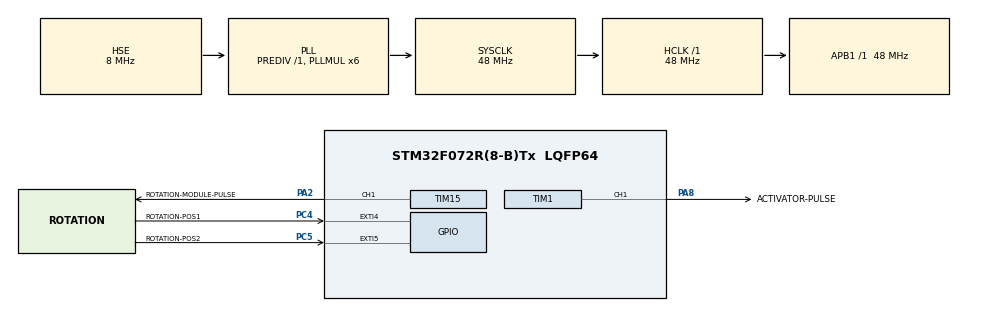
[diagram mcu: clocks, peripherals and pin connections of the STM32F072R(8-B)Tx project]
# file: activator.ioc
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Mcu.Family=STM32F0
Mcu.Name=STM32F072R(8-B)Tx
Mcu.Package=LQFP64
NVIC.EXTI4_15_IRQn=true\:0\:0\:false\:false\:true\:true\:true
NVIC.TIM1_CC_IRQn=true\:0\:0\:false\:false\:true\:true\:true
PA13.Mode=Serial_Wire
PA13.Signal=SYS_SWDIO
PA14.Mode=Serial_Wire
PA14.Signal=SYS_SWCLK
PA2.GPIO_Label=ROTATION-MODULE-PULSE
PA2.Signal=S_TIM15_CH1
PA8.GPIO_Label=ACTIVATOR-PULSE
PA8.Signal=S_TIM1_CH1
PC4.GPIO_Label=ROTATION-POS1
PC4.Signal=GPXTI4
PC5.GPIO_Label=ROTATION-POS2
PC5.Signal=GPXTI5
PF0-OSC_IN.Mode=HSE-External-Oscillator
PF0-OSC_IN.Signal=RCC_OSC_IN
PF1-OSC_OUT.Mode=HSE-External-Oscillator
PF1-OSC_OUT.Signal=RCC_OSC_OUT
ProjectManager.HeapSize=0x200
ProjectManager.StackSize=0x400
ProjectManager.TargetToolchain=MDK-ARM V5
RCC.AHBFreq_Value=48000000
RCC.APB1Freq_Value=48000000
RCC.APB1TimFreq_Value=48000000
RCC.HCLKFreq_Value=48000000
RCC.PLLMUL=RCC_PLL_MUL6
RCC.PLLSourceVirtual=RCC_PLLSOURCE_HSE
RCC.SYSCLKFreq_VALUE=48000000
RCC.SYSCLKSource=RCC_SYSCLKSOURCE_PLLCLK
SH.S_TIM15_CH1.0=TIM15_CH1,PWM Generation1 CH1
SH.S_TIM1_CH1.0=TIM1_CH1,PWM Generation1 CH1
TIM1.Channel-PWM\ Generation1\ CH1=TIM_CHANNEL_1
TIM1.OCPolarity_1=TIM_OCPOLARITY_HIGH
TIM1.Period=2499
TIM1.Prescaler=47
TIM1.Pulse-PWM\ Generation1\ CH1=1249
TIM15.Channel-PWM\ Generation1\ CH1=TIM_CHANNEL_1
TIM15.Period=19999
TIM15.Prescaler=47
TIM15.Pulse-PWM\ Generation1\ CH1=1000
VP_TIM15_VS_ClockSourceINT.Mode=Internal
VP_TIM1_VS_ClockSourceINT.Mode=Internal
board=custom

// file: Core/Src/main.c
/* USER CODE BEGIN Header */
/**
  ******************************************************************************
  * @file           : main.c
  * @brief          : Main program body
  ******************************************************************************
  * @attention
  *
  * <h2><center>&copy; Copyright (c) 2019 STMicroelectronics.
  * All rights reserved.</center></h2>
  *
  * This software component is licensed by ST under BSD 3-Clause license,
  * the "License"; You may not use this file except in compliance with the
  * License. You may obtain a copy of the License at:
  *                        opensource.org/licenses/BSD-3-Clause
  *
  ******************************************************************************
  */
/* USER CODE END Header */

#include "main.h"

/* USER CODE BEGIN Includes */
#include "stdbool.h"
/* USER CODE END Includes */

/* USER CODE BEGIN PM */
static uint16_t const ACTIVATOR_PULSE_WIDTH   = 400;
static uint16_t const ACTIVATOR_PULSE_TIMEOUT = 50;
/* USER CODE END PM */

TIM_HandleTypeDef htim1;
TIM_HandleTypeDef htim15;

/* USER CODE BEGIN PV */
static uint8_t pulse_counter = 0;
static bool pulse_width_riched = false;
/* USER CODE END PV */

void SystemClock_Config(void);
static void MX_GPIO_Init(void);
static void MX_TIM1_Init(void);
static void MX_TIM15_Init(void);
/* USER CODE BEGIN PFP */
void HAL_TIM_PWM_PulseFinishedCallback(TIM_HandleTypeDef *htim) {
    if (htim->Instance == TIM1) {
        pulse_counter++;
        if (pulse_counter > ACTIVATOR_PULSE_WIDTH) {
            TIM1->CR1 &= ~TIM_CR1_CEN;
            pulse_width_riched = true;
            pulse_counter = 0;
        }
    }
}

void HAL_GPIO_EXTI_Callback(uint16_t GPIO_Pin) {
    if (GPIO_Pin == ROTATION_POS1_Pin) {
        TIM15->CCR1 = ROTATION_POS1_PULSE;
    } else if (GPIO_Pin == ROTATION_POS2_Pin) {
        TIM15->CCR1 = ROTATION_POS2_PULSE;
    }
}
/* USER CODE END PFP */

int main(void)
{

  /* MCU Configuration--------------------------------------------------------*/

  /* Reset of all peripherals, Initializes the Flash interface and the Systick. */
  HAL_Init();

  /* Configure the system clock */
  SystemClock_Config();

  /* Initialize all configured peripherals */
  MX_GPIO_Init();
  MX_TIM1_Init();
  MX_TIM15_Init();
  /* USER CODE BEGIN 2 */
  HAL_TIM_PWM_Start(&htim15, TIM_CHANNEL_1);
  HAL_TIM_PWM_Start_IT(&htim1, TIM_CHANNEL_1);
  /* USER CODE END 2 */

  /* Infinite loop */
  /* USER CODE BEGIN WHILE */
  while (1)
  {
      if (pulse_width_riched) {
          pulse_width_riched = false;
          HAL_Delay(ACTIVATOR_PULSE_TIMEOUT);
          TIM1->CR1 |= TIM_CR1_CEN;
      }
    /* USER CODE END WHILE */

  }
}

void SystemClock_Config(void)
{
  RCC_OscInitTypeDef RCC_OscInitStruct = {0};
  RCC_ClkInitTypeDef RCC_ClkInitStruct = {0};

  /** Initializes the CPU, AHB and APB busses clocks
  */
  RCC_OscInitStruct.OscillatorType = RCC_OSCILLATORTYPE_HSE;
  RCC_OscInitStruct.HSEState = RCC_HSE_ON;
  RCC_OscInitStruct.PLL.PLLState = RCC_PLL_ON;
  RCC_OscInitStruct.PLL.PLLSource = RCC_PLLSOURCE_HSE;
  RCC_OscInitStruct.PLL.PLLMUL = RCC_PLL_MUL6;
  RCC_OscInitStruct.PLL.PREDIV = RCC_PREDIV_DIV1;
  if (HAL_RCC_OscConfig(&RCC_OscInitStruct) != HAL_OK)
  {
    Error_Handler();
  }
  /** Initializes the CPU, AHB and APB busses clocks
  */
  RCC_ClkInitStruct.ClockType = RCC_CLOCKTYPE_HCLK|RCC_CLOCKTYPE_SYSCLK
                              |RCC_CLOCKTYPE_PCLK1;
  RCC_ClkInitStruct.SYSCLKSource = RCC_SYSCLKSOURCE_PLLCLK;
  RCC_ClkInitStruct.AHBCLKDivider = RCC_SYSCLK_DIV1;
  RCC_ClkInitStruct.APB1CLKDivider = RCC_HCLK_DIV1;

  if (HAL_RCC_ClockConfig(&RCC_ClkInitStruct, FLASH_LATENCY_1) != HAL_OK)
  {
    Error_Handler();
  }
}

static void MX_TIM1_Init(void)
{

  TIM_ClockConfigTypeDef sClockSourceConfig = {0};
  TIM_MasterConfigTypeDef sMasterConfig = {0};
  TIM_OC_InitTypeDef sConfigOC = {0};
  TIM_BreakDeadTimeConfigTypeDef sBreakDeadTimeConfig = {0};

  htim1.Instance = TIM1;
  htim1.Init.Prescaler = 47;
  htim1.Init.CounterMode = TIM_COUNTERMODE_UP;
  htim1.Init.Period = 2499;
  htim1.Init.ClockDivision = TIM_CLOCKDIVISION_DIV1;
  htim1.Init.RepetitionCounter = 0;
  htim1.Init.AutoReloadPreload = TIM_AUTORELOAD_PRELOAD_DISABLE;
  if (HAL_TIM_Base_Init(&htim1) != HAL_OK)
  {
    Error_Handler();
  }
  sClockSourceConfig.ClockSource = TIM_CLOCKSOURCE_INTERNAL;
  if (HAL_TIM_ConfigClockSource(&htim1, &sClockSourceConfig) != HAL_OK)
  {
    Error_Handler();
  }
  if (HAL_TIM_PWM_Init(&htim1) != HAL_OK)
  {
    Error_Handler();
  }
  sMasterConfig.MasterOutputTrigger = TIM_TRGO_RESET;
  sMasterConfig.MasterSlaveMode = TIM_MASTERSLAVEMODE_DISABLE;
  if (HAL_TIMEx_MasterConfigSynchronization(&htim1, &sMasterConfig) != HAL_OK)
  {
    Error_Handler();
  }
  sConfigOC.OCMode = TIM_OCMODE_PWM1;
  sConfigOC.Pulse = 400;
  sConfigOC.OCPolarity = TIM_OCPOLARITY_HIGH;
  sConfigOC.OCNPolarity = TIM_OCNPOLARITY_HIGH;
  sConfigOC.OCFastMode = TIM_OCFAST_DISABLE;
  sConfigOC.OCIdleState = TIM_OCIDLESTATE_RESET;
  sConfigOC.OCNIdleState = TIM_OCNIDLESTATE_RESET;
  if (HAL_TIM_PWM_ConfigChannel(&htim1, &sConfigOC, TIM_CHANNEL_1) != HAL_OK)
  {
    Error_Handler();
  }
  sBreakDeadTimeConfig.OffStateRunMode = TIM_OSSR_DISABLE;
  sBreakDeadTimeConfig.OffStateIDLEMode = TIM_OSSI_DISABLE;
  sBreakDeadTimeConfig.LockLevel = TIM_LOCKLEVEL_OFF;
  sBreakDeadTimeConfig.DeadTime = 0;
  sBreakDeadTimeConfig.BreakState = TIM_BREAK_DISABLE;
  sBreakDeadTimeConfig.BreakPolarity = TIM_BREAKPOLARITY_HIGH;
  sBreakDeadTimeConfig.AutomaticOutput = TIM_AUTOMATICOUTPUT_DISABLE;
  if (HAL_TIMEx_ConfigBreakDeadTime(&htim1, &sBreakDeadTimeConfig) != HAL_OK)
  {
    Error_Handler();
  }
  HAL_TIM_MspPostInit(&htim1);

}

static void MX_TIM15_Init(void)
{

  TIM_ClockConfigTypeDef sClockSourceConfig = {0};
  TIM_MasterConfigTypeDef sMasterConfig = {0};
  TIM_OC_InitTypeDef sConfigOC = {0};
  TIM_BreakDeadTimeConfigTypeDef sBreakDeadTimeConfig = {0};

  htim15.Instance = TIM15;
  htim15.Init.Prescaler = 47;
  htim15.Init.CounterMode = TIM_COUNTERMODE_UP;
  htim15.Init.Period = 19999;
  htim15.Init.ClockDivision = TIM_CLOCKDIVISION_DIV1;
  htim15.Init.RepetitionCounter = 0;
  htim15.Init.AutoReloadPreload = TIM_AUTORELOAD_PRELOAD_DISABLE;
  if (HAL_TIM_Base_Init(&htim15) != HAL_OK)
  {
    Error_Handler();
  }
  sClockSourceConfig.ClockSource = TIM_CLOCKSOURCE_INTERNAL;
  if (HAL_TIM_ConfigClockSource(&htim15, &sClockSourceConfig) != HAL_OK)
  {
    Error_Handler();
  }
  if (HAL_TIM_PWM_Init(&htim15) != HAL_OK)
  {
    Error_Handler();
  }
  sMasterConfig.MasterOutputTrigger = TIM_TRGO_RESET;
  sMasterConfig.MasterSlaveMode = TIM_MASTERSLAVEMODE_DISABLE;
  if (HAL_TIMEx_MasterConfigSynchronization(&htim15, &sMasterConfig) != HAL_OK)
  {
    Error_Handler();
  }
  sConfigOC.OCMode = TIM_OCMODE_PWM1;
  sConfigOC.Pulse = 1000;
  sConfigOC.OCPolarity = TIM_OCPOLARITY_HIGH;
  sConfigOC.OCNPolarity = TIM_OCNPOLARITY_HIGH;
  sConfigOC.OCFastMode = TIM_OCFAST_DISABLE;
  sConfigOC.OCIdleState = TIM_OCIDLESTATE_RESET;
  sConfigOC.OCNIdleState = TIM_OCNIDLESTATE_RESET;
  if (HAL_TIM_PWM_ConfigChannel(&htim15, &sConfigOC, TIM_CHANNEL_1) != HAL_OK)
  {
    Error_Handler();
  }
  sBreakDeadTimeConfig.OffStateRunMode = TIM_OSSR_DISABLE;
  sBreakDeadTimeConfig.OffStateIDLEMode = TIM_OSSI_DISABLE;
  sBreakDeadTimeConfig.LockLevel = TIM_LOCKLEVEL_OFF;
  sBreakDeadTimeConfig.DeadTime = 0;
  sBreakDeadTimeConfig.BreakState = TIM_BREAK_DISABLE;
  sBreakDeadTimeConfig.BreakPolarity = TIM_BREAKPOLARITY_HIGH;
  sBreakDeadTimeConfig.AutomaticOutput = TIM_AUTOMATICOUTPUT_DISABLE;
  if (HAL_TIMEx_ConfigBreakDeadTime(&htim15, &sBreakDeadTimeConfig) != HAL_OK)
  {
    Error_Handler();
  }
  HAL_TIM_MspPostInit(&htim15);

}

static void MX_GPIO_Init(void)
{
  GPIO_InitTypeDef GPIO_InitStruct = {0};

  /* GPIO Ports Clock Enable */
  __HAL_RCC_GPIOF_CLK_ENABLE();
  __HAL_RCC_GPIOA_CLK_ENABLE();
  __HAL_RCC_GPIOC_CLK_ENABLE();

  /*Configure GPIO pins : ROTATION_POS1_Pin ROTATION_POS2_Pin */
  GPIO_InitStruct.Pin = ROTATION_POS1_Pin|ROTATION_POS2_Pin;
  GPIO_InitStruct.Mode = GPIO_MODE_IT_RISING;
  GPIO_InitStruct.Pull = GPIO_NOPULL;
  HAL_GPIO_Init(GPIOC, &GPIO_InitStruct);

  /* EXTI interrupt init*/
  HAL_NVIC_SetPriority(EXTI4_15_IRQn, 0, 0);
  HAL_NVIC_EnableIRQ(EXTI4_15_IRQn);

}

void Error_Handler(void)
{
}

/************************ (C) COPYRIGHT STMicroelectronics *****END OF FILE****/
